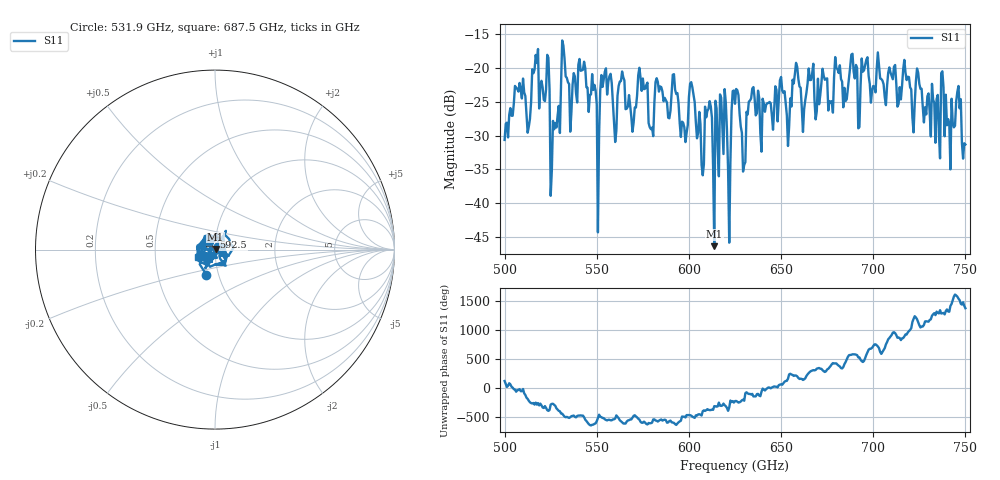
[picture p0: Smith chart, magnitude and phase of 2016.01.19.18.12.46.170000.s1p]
!Created with skrf (http://scikit-rf.org).
# GHz S RI R 50.0
!freq ReS11 ImS11
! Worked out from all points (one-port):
!   401 points, 500 GHz to 750 GHz, reference 50 ohm
!   lowest |S11| = -46.4 dB at 613.8 GHz (marker M1), VSWR 1.01, Z = 50.3 + j0.334 ohm
!   |S11| at or under -10 dB: start of sweep to end of sweep
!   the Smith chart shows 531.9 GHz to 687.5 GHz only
!   S11 on the Smith chart (normalised r, x): 531.9 GHz: 0.87, -0.25; 592.5 GHz: 0.98, +0.14; 687.5 GHz: 0.83, -0.07
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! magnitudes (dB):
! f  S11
! 500 GHz  -30.6
! 506.9 GHz  -23.1
! 513.1 GHz  -28.7
! 516.9 GHz  -18.0
! 523.1 GHz  -18.0
! 526.2 GHz  -27.8
! 531.2 GHz  -15.9
! 531.9 GHz  -16.6
! 550.6 GHz  -44.4
! 553.8 GHz  -21.7
! 560 GHz  -31.0
! 562.5 GHz  -22.0
! 573.8 GHz  -21.4
! 579.4 GHz  -29.1
! 592.5 GHz  -23.2
! 593.8 GHz  -23.7
! 613.8 GHz  -46.4
! 618.1 GHz  -28.5
! 621.9 GHz  -45.9
! 625 GHz  -25.3
! 629.4 GHz  -35.3
! 633.8 GHz  -24.5
! 656.2 GHz  -21.7
! 687.5 GHz  -19.8
! 718.8 GHz  -21.3
! 735 GHz  -24.0
! 746.2 GHz  -22.6
! 750 GHz  -31.3
